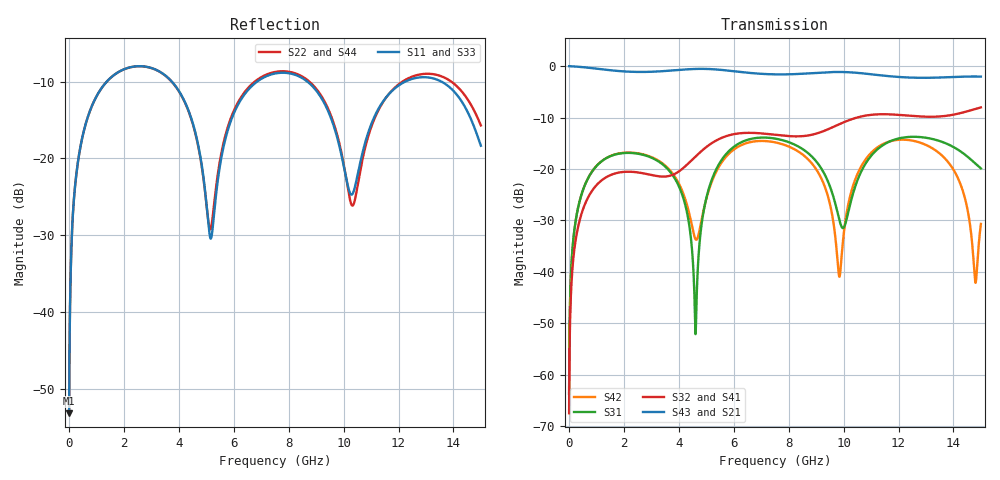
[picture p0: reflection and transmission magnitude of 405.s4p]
! Created with skrf 1.8.0 (http://scikit-rf.org).
# GHz S RI R 50.0
!freq ReS11 ImS11 ReS12 ImS12 ReS13 ImS13
! ReS14 ImS14
! ReS21 ImS21 ReS22 ImS22 ReS23 ImS23
! ReS24 ImS24
! ReS31 ImS31 ReS32 ImS32 ReS33 ImS33
! ReS34 ImS34
! ReS41 ImS41 ReS42 ImS42 ReS43 ImS43
! ReS44 ImS44
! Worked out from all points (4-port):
!   2499 points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, 5 MHz to 15 GHz, reference 50 ohm
!   strongest paths, dB at 5 MHz, 3.476 GHz, 7.19 GHz, 11.1 GHz, 15 GHz:
!     S43: 0.0, -1.0, -1.6, -1.6, -2.0
!     S21: 0.0, -1.0, -1.6, -1.6, -2.0
!     S32: -67.5, -21.5, -13.2, -9.4, -8.0
!     S41: -67.5, -21.5, -13.2, -9.4, -8.0
!     S31: -63.7, -19.4, -13.9, -16.9, -19.9
!     S42: -63.7, -19.2, -14.6, -16.4, -30.7
!   lowest |S11| = -53.2 dB at 5 MHz (marker M1), VSWR 1.00, Z = 50.2 + j0.134 ohm
!   |S11| at or under -10 dB: 3.746 GHz to 6.851 GHz (3.105 GHz wide, 58.6 % of centre); 8.681 GHz to 12.24 GHz (3.563 GHz wide, 34.1 % of centre); 13.56 GHz to end of sweep (the widest 3 of 4)
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0.005  0.00174 0.00133  0.9982 -0.00339  8.62e-05 0.000645  -8.4e-05 -0.000412
       0.9982 -0.00339  0.00174 0.00133  -8.4e-05 -0.000412  8.63e-05 0.000645
       8.62e-05 0.000645  -8.4e-05 -0.000412  0.00174 0.00133  0.9982 -0.00339
       -8.4e-05 -0.000412  8.63e-05 0.000645  0.9982 -0.00339  0.00174 0.00133
1.67  0.3143 0.1593  0.4511 -0.7812  0.1308 0.0434  -0.0897 0.00874
      0.4511 -0.7812  0.3137 0.1598  -0.0898 0.00882  0.1321 0.041
      0.1308 0.0434  -0.0898 0.00882  0.3142 0.1593  0.4511 -0.7812
      -0.0897 0.00874  0.1321 0.041  0.4511 -0.7812  0.3137 0.1597
4.60817  0.0716 -0.1271  -0.8599 -0.375  -0.00237 -0.000704  -0.0492 0.1225
         -0.8599 -0.375  0.0744 -0.1231  -0.0484 0.1228  -0.0191 -0.00816
         -0.00237 -0.000704  -0.0484 0.1228  0.0719 -0.1263  -0.8601 -0.3748
         -0.0492 0.1225  -0.0191 -0.00816  -0.8601 -0.3748  0.0734 -0.1228
7.890788  0.36 -0.0202  -0.0343 0.8302  0.1615 -0.0929  0.1997 -0.0615
          -0.0343 0.8302  0.3675 -0.0301  0.1997 -0.0635  0.1583 -0.0609
          0.1615 -0.0929  0.1997 -0.0635  0.3599 -0.0201  -0.0346 0.8301
          0.1997 -0.0615  0.1583 -0.0609  -0.0346 0.8301  0.368 -0.0297
9.847853  0.0821 -0.0879  0.79 0.3794  -0.0279 -0.0154  0.112 -0.2484
          0.79 0.3794  0.0762 -0.0989  0.1087 -0.2498  -0.00894 -0.000206
          -0.0279 -0.0154  0.1087 -0.2498  0.0837 -0.0856  0.7901 0.3796
          0.112 -0.2484  -0.00894 -0.000206  0.7901 0.3796  0.0736 -0.0982
10.66069  0.0786 0.0676  0.8498 -0.0627  0.0431 0.0863  -0.0405 -0.3221
          0.8498 -0.0627  0.0681 0.0638  -0.0447 -0.3213  0.0545 0.0933
          0.0431 0.0863  -0.0447 -0.3213  0.082 0.0693  0.8495 -0.0627
          -0.0405 -0.3221  0.0545 0.0933  0.8495 -0.0627  0.0653 0.0672
15  0.1071 -0.0561  -0.6763 -0.4098  -0.0963 -0.031  -0.2041 0.3398
    -0.6763 -0.4098  0.1225 -0.1089  -0.1978 0.3436  -0.00322 0.029
    -0.0963 -0.031  -0.1978 0.3436  0.1105 -0.0592  -0.6738 -0.413
    -0.2041 0.3398  -0.00322 0.029  -0.6738 -0.413  0.1255 -0.1105
